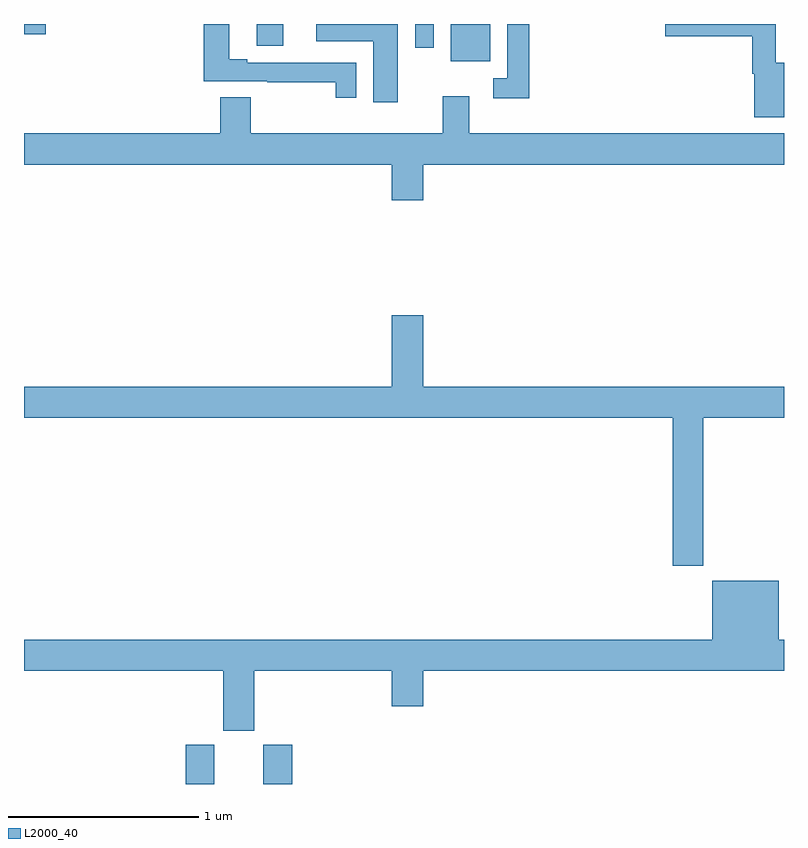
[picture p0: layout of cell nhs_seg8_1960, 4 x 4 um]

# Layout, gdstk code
import gdstk
lib = gdstk.Library(unit=1e-6, precision=1e-09)
def R(c, l, rs):  # rectangles x0, y0, x1, y1
    for r in rs: c.add(gdstk.rectangle(r[:2], r[2:], *l))
def P(c, l, *ps):  # polygons
    for p in ps: c.add(gdstk.Polygon(p, *l))
L2000_40 = (2000, 40)

nhs_seg8_1960 = lib.new_cell('nhs_seg8_1960')
R(nhs_seg8_1960, L2000_40, [(235.85,1119.9,236.002,1120.107), (236.258,1119.9,236.411,1120.107), (237.245,1123.703,237.454,1123.9), (237.06,1123.776,237.156,1123.9), (236.225,1123.785,236.365,1123.9), (235,1123.847,235.114,1123.9)])
P(nhs_seg8_1960, L2000_40, [(236.968,1123.9),(236.538,1123.9),(236.538,1123.808),(236.837,1123.808),(236.837,1123.488),(236.968,1123.488)],
  [(239,1123.696),(238.957,1123.696),(238.957,1123.9),(238.374,1123.9),(238.374,1123.835),(238.832,1123.835),(238.832,1123.637),(238.844,1123.637),(238.844,1123.41),(239,1123.41)],
  [(237.659,1123.9),(237.543,1123.9),(237.543,1123.614),(237.471,1123.614),(237.471,1123.509),(237.659,1123.509)],
  [(236.748,1123.695),(236.176,1123.695),(236.176,1123.715),(236.08,1123.715),(236.08,1123.9),(235.946,1123.9),(235.946,1123.599),(236.281,1123.599),(236.281,1123.594),(236.64,1123.594),(236.64,1123.512),(236.748,1123.512)],
  [(237.1,1123.16),(239,1123.16),(239,1123.324),(237.343,1123.324),(237.343,1123.519),(237.203,1123.519),(237.203,1123.324),(236.193,1123.324),(236.193,1123.514),(236.033,1123.514),(236.033,1123.324),(235,1123.324),(235,1123.16),(236.936,1123.16),(236.936,1122.972),(237.1,1122.972)],
  [(238.575,1121.828),(239,1121.828),(239,1121.992),(237.1,1121.992),(237.1,1122.367),(236.936,1122.367),(236.936,1121.992),(235,1121.992),(235,1121.828),(238.415,1121.828),(238.415,1121.049),(238.575,1121.049)],
  [(236.212,1120.496),(236.936,1120.496),(236.936,1120.308),(237.1,1120.308),(237.1,1120.496),(239,1120.496),(239,1120.66),(238.972,1120.66),(238.972,1120.969),(238.622,1120.969),(238.622,1120.66),(235,1120.66),(235,1120.496),(236.048,1120.496),(236.048,1120.179),(236.212,1120.179)])

lib.write_gds('nhs_seg8_1960.gds')
